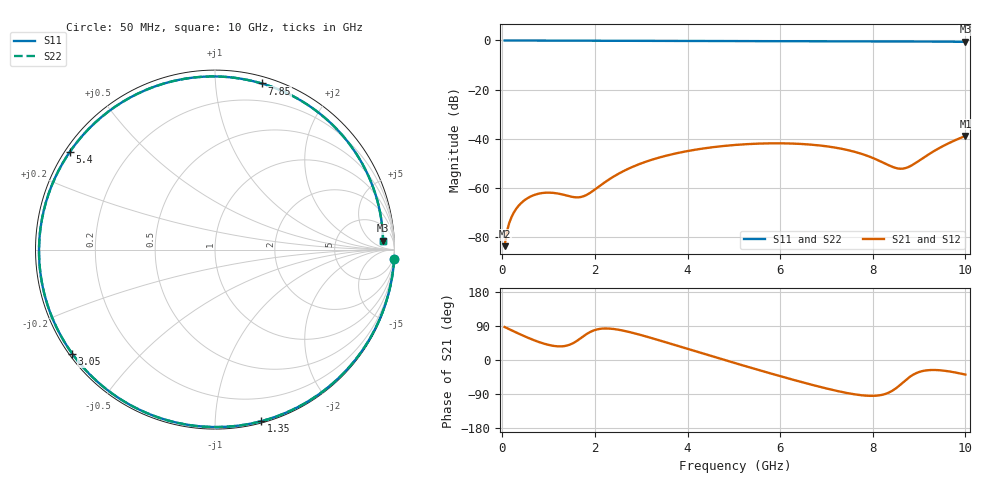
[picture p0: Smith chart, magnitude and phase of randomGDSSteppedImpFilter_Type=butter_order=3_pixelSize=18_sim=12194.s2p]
! freq	dB(S11)	phase(S11)	dB(S12)	phase(S12)
!  dB(S21)	phase(S21)	dB(S22)	phase(S22)
!S-par simulation data
#  GHz  S  DB  R 50
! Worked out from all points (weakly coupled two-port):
!   200 points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, 50 MHz to 10 GHz, reference 50 ohm
!   highest |S21| = -38.89 dB at 10 GHz (marker M1); lowest = -83.8 dB at 50 MHz (marker M2)
!   lowest |S11| = -0.6 dB at 10 GHz (marker M3), VSWR 31.04, Z = 928 + j760 ohm
!   |S11| at or under -10 dB: nowhere
!   |S22| runs from -0.6 to 0.0 dB; largest |S21 - S12| = 0
!   S11 on the Smith chart (normalised r, x): 50 MHz: 0, -38; 1.35 GHz: 0.01, -1.31; 3.05 GHz: 0.01, -0.33; 5.4 GHz: 0.01, +0.31; 7.85 GHz: 0.05, +1.32; 10 GHz: 19, +15
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0.05  -0.00 -3.0  -83.78 87.1  -83.78 87.1  -0.00 -3.0
0.15  -0.01 -8.9  -74.32 81.2  -74.32 81.2  -0.01 -8.9
0.25  -0.02 -14.8  -70.04 75.4  -70.04 75.4  -0.02 -14.8
0.5  -0.04 -29.3  -64.79 61.6  -64.79 61.6  -0.04 -29.3
0.9  -0.06 -51.6  -62.05 43.1  -62.05 43.1  -0.06 -51.6
1.35  -0.09 -74.8  -62.97 37.0  -62.97 37.0  -0.09 -74.8
1.75  -0.10 -93.6  -63.47 62.5  -63.47 62.5  -0.10 -93.6
2.4  -0.12 -120.5  -55.48 81.9  -55.48 81.9  -0.12 -120.5
3.05  -0.14 -143.9  -49.71 64.0  -49.71 64.0  -0.14 -143.9
3.4  -0.15 -155.4  -47.62 51.6  -47.62 51.6  -0.15 -155.4
4.2  -0.17 -179.8  -44.39 22.0  -44.39 22.0  -0.17 -179.8
5.05  -0.20 155.9  -42.52 -9.0  -42.52 -9.0  -0.20 155.9
5.4  -0.22 146.0  -42.11 -21.6  -42.11 -21.6  -0.22 146.1
6.1  -0.25 126.3  -41.91 -46.0  -41.91 -46.0  -0.25 126.3
6.7  -0.28 109.0  -42.48 -65.9  -42.48 -65.9  -0.28 109.0
7.3  -0.31 91.2  -44.01 -83.5  -44.01 -83.5  -0.31 91.2
7.85  -0.34 74.3  -46.77 -94.1  -46.77 -94.1  -0.34 74.3
8.35  -0.37 58.4  -50.87 -85.8  -50.87 -85.8  -0.37 58.4
8.55  -0.39 51.9  -52.15 -69.9  -52.15 -69.9  -0.39 51.9
8.75  -0.40 45.3  -51.70 -49.1  -51.70 -49.1  -0.40 45.4
9.4  -0.47 23.6  -44.20 -26.7  -44.20 -26.7  -0.47 23.6
10  -0.56 3.0  -38.89 -38.5  -38.89 -38.5  -0.56 3.1
